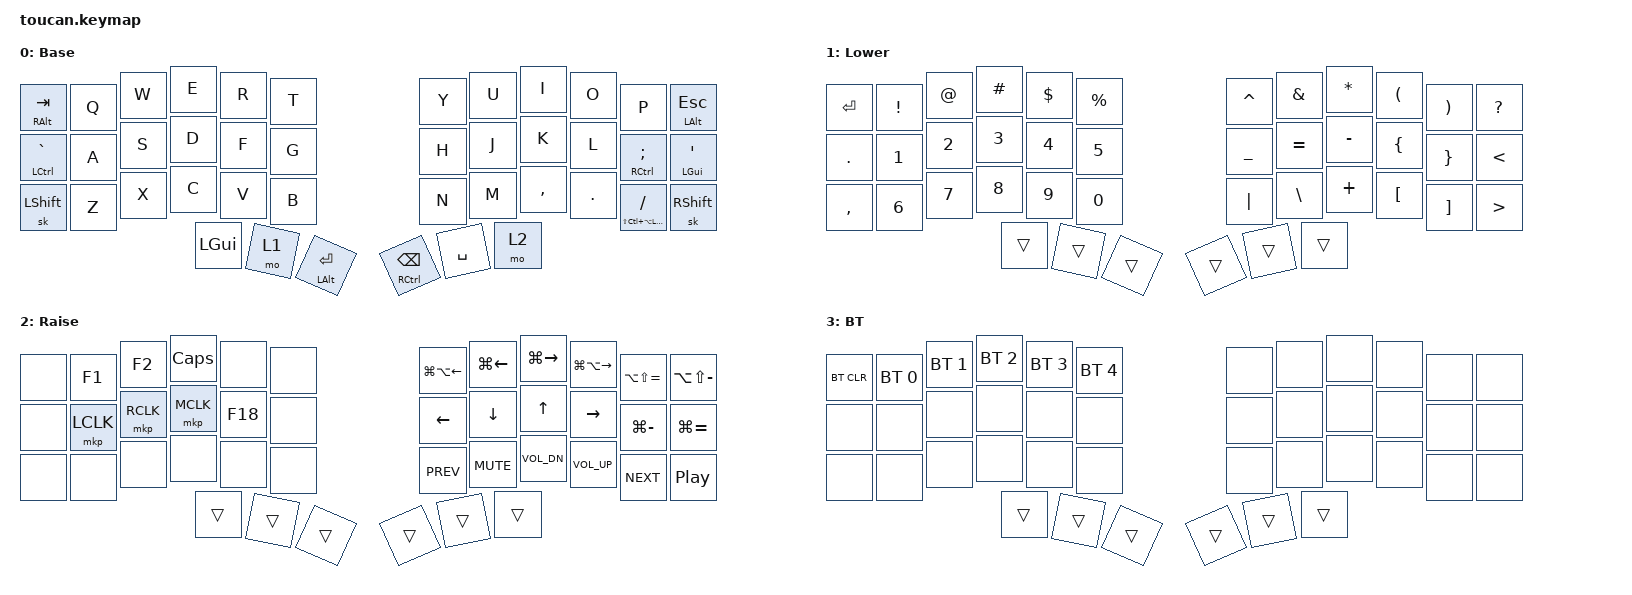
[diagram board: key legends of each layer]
/*
 * Copyright (c) 2020 The ZMK Contributors
 *
 * SPDX-License-Identifier: MIT
 */

#include <behaviors.dtsi>
#include <dt-bindings/zmk/keys.h>
#include <dt-bindings/zmk/bt.h>
#include <dt-bindings/zmk/outputs.h>
#include <dt-bindings/zmk/pointing.h>

// Enable the trackpad
&glidepoint_listener {
    status = "okay";
};

&mt {
    tapping-term-ms = <200>;
    flavor = "tap-preferred";
    quick-tap-ms = <180>;
    require-prior-idle-ms = <100>;
    retro-tap;
};

&sk {
    release-after-ms = <2000>;
    quick-release;
};

/ {
    conditional_layers {
        compatible = "zmk,conditional-layers";

        // Activate Bluetooth layer when both Lower and Raise are held
        tri_layer {
            if-layers = <1 2>;
            then-layer = <3>;
        };
    };

    combos {
        compatible = "zmk,combos";

        // capslock when pressed both shifts
        combo_shift_capslock {
            bindings = <&kp CAPS>;
            key-positions = <24 35>;
            layers = <0>;
        };

        // enter when df is both pressed
        combo_enter_left {
            bindings = <&kp RET>;
            key-positions = <15 16>;
            layers = <0>;
        };

        // backspace when m, is both pressed
        combo_backspace_right {
            bindings = <&kp BSPC>;
            key-positions = <31 32>;
            layers = <0>;
        };

        // backspace when cv is both pressed
        combo_backspace_left {
            bindings = <&kp BSPC>;
            key-positions = <27 28>;
            layers = <0>;
        };

        // caps lock when Q+P is pressed together
        combo_caps_qp {
            bindings = <&kp CAPS>;
            key-positions = <1 10>;
            layers = <0>;
        };
    };

    behaviors {
        hm: hm {
            compatible = "zmk,behavior-hold-tap";
            label = "thumb";
            bindings = <&kp>, <&kp>;

            #binding-cells = <2>;
            flavor = "tap-preferred";
            tapping-term-ms = <180>;
            quick-tap-ms = <160>;
            require-prior-idle-ms = <50>;
        };

        hm2: hm2 {
            compatible = "zmk,behavior-hold-tap";
            label = "pinky";
            bindings = <&kp>, <&kp>;

            #binding-cells = <2>;
            flavor = "tap-preferred";
            tapping-term-ms = <200>;
            quick-tap-ms = <180>;
            require-prior-idle-ms = <100>;
        };
    };

    keymap {
        compatible = "zmk,keymap";

        default_layer {
            // -----------------------------------------------------------------------------------------
            // |  TAB |  Q  |  W  |  E  |  R  |  T  |   |  Y  |  U   |  I  |  O  |  P  | BKSP |
            // | CTRL |  A  |  S  |  D  |  F  |  G  |   |  H  |  J   |  K  |  L  |  ;  |  '   |
            // | SHFT |  Z  |  X  |  C  |  V  |  B  |   |  N  |  M   |  ,  |  .  |  /  | ESC  |
            //                    | GUI | LWR | SPC |   | ENT | RSE  | ALT |

            display-name = "Base";
            bindings = <
//    ┌─────────────┬───┬───┬──────┬──────┬─────────────┐               ┌──────────────┬─────┬──────┬───┬───────────────────────────────┬─────────────┐
//    │ mt ralt tab │ Q │ W │  E   │  R   │      T      │               │      Y       │  U  │  I   │ O │               P               │ mt lalt esc │
//    ├─────────────┼───┼───┼──────┼──────┼─────────────┤               ├──────────────┼─────┼──────┼───┼───────────────────────────────┼─────────────┤
//    │  mt lctl `  │ A │ S │  D   │  F   │      G      │               │      H       │  J  │  K   │ L │           mt rctl ;           │  mt lgui '  │
//    ├─────────────┼───┼───┼──────┼──────┼─────────────┤               ├──────────────┼─────┼──────┼───┼───────────────────────────────┼─────────────┤
//    │  &sk lsft   │ Z │ X │  C   │  V   │      B      │               │      N       │  M  │  ,   │ . │ &hm2 lsft(lctl(lalt(lgui))) / │  &sk rsft   │
//    └─────────────┴───┴───┼──────┼──────┼─────────────┤               ├──────────────┼─────┼──────┼───┴───────────────────────────────┴─────────────┘
//                          │ lgui │ mo 1 │ mt lalt ent │               │ mt rctl bspc │ spc │ mo 2 │
//                          └──────┴──────┴─────────────┘               └──────────────┴─────┴──────┘
  &mt RALT TAB      &kp Q   &kp W   &kp E      &kp R   &kp T                            &kp Y                 &kp U       &kp I       &kp O     &kp P                        &mt LALT ESCAPE
  &mt LCTRL GRAVE   &kp A   &kp S   &kp D      &kp F   &kp G                            &kp H                 &kp J       &kp K       &kp L     &mt RCTRL SEMI               &mt LGUI SINGLE_QUOTE
  &sk LEFT_SHIFT    &kp Z   &kp X   &kp C      &kp V   &kp B                            &kp N                 &kp M       &kp COMMA   &kp DOT   &hm2 LS(LC(LA(LGUI))) FSLH   &sk RIGHT_SHIFT
                                    &kp LGUI   &mo 1   &mt LALT ENTER                   &mt RCTRL BACKSPACE   &kp SPACE   &mo 2
            >;
        };

        lower_layer {
            // -----------------------------------------------------------------------------------------
            // |  TAB |  1  |  2  |  3  |  4  |  5  |   |  6  |  7  |  8  |  9  |  0  | BKSP |
            // | BTCLR| BT1 | BT2 | BT3 | BT4 | BT5 |   | LFT | DWN |  UP | RGT |     |      |
            // | SHFT |     |     |     |     |     |   |     |     |     |     |     |      |
            //                    | GUI |     | SPC |   | ENT |     | ALT |

            display-name = "Lower";
            bindings = <
//    ┌─────┬───┬───┬─────┬─────┬─────┐               ┌─────┬─────┬─────┬───┬───┬───┐
//    │ ent │ ! │ @ │  #  │  $  │  %  │               │  ^  │  &  │  *  │ ( │ ) │ ? │
//    ├─────┼───┼───┼─────┼─────┼─────┤               ├─────┼─────┼─────┼───┼───┼───┤
//    │  .  │ 1 │ 2 │  3  │  4  │  5  │               │  _  │  =  │  -  │ { │ } │ < │
//    ├─────┼───┼───┼─────┼─────┼─────┤               ├─────┼─────┼─────┼───┼───┼───┤
//    │  ,  │ 6 │ 7 │  8  │  9  │  0  │               │  |  │  \  │  +  │ [ │ ] │ > │
//    └─────┴───┴───┼─────┼─────┼─────┤               ├─────┼─────┼─────┼───┴───┴───┘
//                  │     │     │     │               │     │     │     │
//                  └─────┴─────┴─────┘               └─────┴─────┴─────┘
  &kp RET     &kp EXCL       &kp AT         &kp POUND      &kp DOLLAR     &kp PERCENT                    &kp CARET   &kp AMPERSAND   &kp ASTERISK   &kp LEFT_PARENTHESIS   &kp RIGHT_PARENTHESIS   &kp QMARK
  &kp DOT     &kp NUMBER_1   &kp NUMBER_2   &kp NUMBER_3   &kp NUMBER_4   &kp N5                         &kp UNDER   &kp EQUAL       &kp MINUS      &kp LEFT_BRACE         &kp RIGHT_BRACE         &kp LT
  &kp COMMA   &kp NUMBER_6   &kp NUMBER_7   &kp N8         &kp N9         &kp NUMBER_0                   &kp PIPE    &kp BACKSLASH   &kp PLUS       &kp LEFT_BRACKET       &kp RIGHT_BRACKET       &kp GT
                                            &trans         &trans         &trans                         &trans      &trans          &trans
            >;
        };

        raise_layer {
            // -----------------------------------------------------------------------------------------
            // |  TAB |  !  |  @  |  #  |  $  |  %  |   |  ^  |  &  |  *  |  (  |  )  | BKSP |
            // | CTRL |     |     |     |     |     |   |  -  |  =  |  [  |  ]  |  \  |  `   |
            // | SHFT |     |     |     |     |     |   |  _  |  +  |  {  |  }  | "|" |  ~   |
            //                    | GUI |     | SPC |   | ENT |     | ALT |

            display-name = "Raise";
            bindings = <
//    ┌─────┬─────┬─────┬──────┬─────┬─────┐               ┌──────────────────┬────────────┬────────────┬──────────────────┬───────────────┬───────────────┐
//    │     │ f1  │ f2  │ caps │     │     │               │ lgui(lalt(left)) │ lgui(left) │ lgui(rght) │ lgui(lalt(rght)) │ lalt(lsft(=)) │ lalt(lsft(-)) │
//    ├─────┼─────┼─────┼──────┼─────┼─────┤               ├──────────────────┼────────────┼────────────┼──────────────────┼───────────────┼───────────────┤
//    │     │ lclk│ rclk│ mclk │     │     │               │       left       │    down    │     up     │       rght       │    lgui(-)    │    lgui(=)    │
//    ├─────┼─────┼─────┼──────┼─────┼─────┤               ├──────────────────┼────────────┼────────────┼──────────────────┼───────────────┼───────────────┤
//    │     │     │     │      │     │     │               │       prev       │    mute    │    vold    │       volu       │     next      │     play      │
//    └─────┴─────┴─────┼──────┼─────┼─────┤               ├──────────────────┼────────────┼────────────┼──────────────────┴───────────────┴───────────────┘
//                      │      │     │     │               │                  │            │            │
//                      └──────┴─────┴─────┘               └──────────────────┴────────────┴────────────┘
  &none   &kp F1      &kp F2      &kp CAPS    &none    &none                    &kp LG(LA(LEFT))   &kp LG(LEFT)   &kp LG(RIGHT)   &kp LG(LA(RIGHT))   &kp LA(LS(EQUAL))   &kp LA(LS(MINUS))
  &none   &mkp LCLK   &mkp RCLK   &mkp MCLK   &kp F18  &none                    &kp LEFT           &kp DOWN       &kp UP_ARROW    &kp RIGHT           &kp LG(MINUS)       &kp LG(EQUAL)
  &none   &none       &none       &none       &none    &none                    &kp C_PREV         &kp C_MUTE     &kp C_VOL_DN    &kp C_VOL_UP        &kp C_NEXT          &kp C_PP
                                  &trans      &trans   &trans                   &trans             &trans         &trans
            >;
        };

        bluetooth_layer {
            display-name = "BT";
            bindings = <
//    ┌────────┬──────────┬──────────┬──────────┬──────────┬──────────┐               ┌──────┬──────┬──────┬──────┬──────┬──────┐
//    │ BT_CLR │  BT_0    │  BT_1    │  BT_2    │  BT_3    │  BT_4    │               │      │      │      │      │      │      │
//    ├────────┼──────────┼──────────┼──────────┼──────────┼──────────┤               ├──────┼──────┼──────┼──────┼──────┼──────┤
//    │        │          │          │          │          │          │               │      │      │      │      │      │      │
//    ├────────┼──────────┼──────────┼──────────┼──────────┼──────────┤               ├──────┼──────┼──────┼──────┼──────┼──────┤
//    │        │          │          │          │          │          │               │      │      │      │      │      │      │
//    └────────┴──────────┴──────────┼──────────┼──────────┼──────────┤               ├──────┼──────┼──────┼──────┴──────┴──────┘
//                                   │          │          │          │               │      │      │      │
//                                   └──────────┴──────────┴──────────┘               └──────┴──────┴──────┘
  &bt BT_CLR   &bt BT_SEL 0   &bt BT_SEL 1   &bt BT_SEL 2   &bt BT_SEL 3   &bt BT_SEL 4       &none   &none   &none   &none   &none   &none
  &none        &none          &none          &none          &none          &none              &none   &none   &none   &none   &none   &none
  &none        &none          &none          &none          &none          &none              &none   &none   &none   &none   &none   &none
                                             &trans         &trans         &trans             &trans  &trans  &trans
            >;
        };
    };
};
